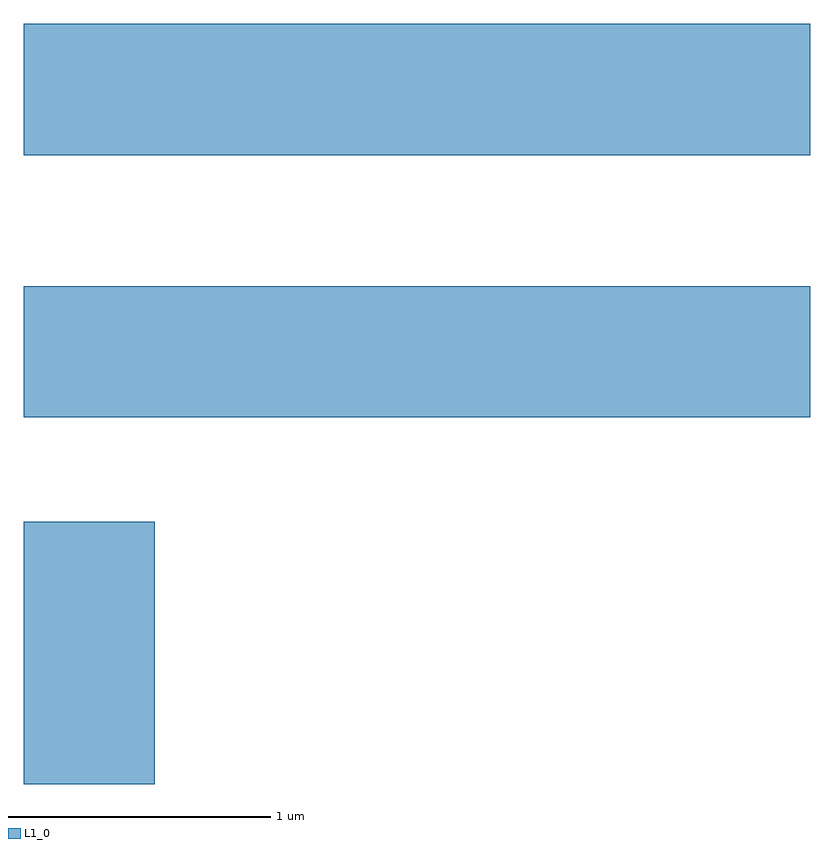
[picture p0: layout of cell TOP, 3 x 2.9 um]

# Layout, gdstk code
from math import pi, radians
import gdstk
lib = gdstk.Library(unit=1e-6, precision=1e-09)
def R(c, l, rs):  # rectangles x0, y0, x1, y1
    for r in rs: c.add(gdstk.rectangle(r[:2], r[2:], *l))
L1_0 = (1, 0)

c_a = lib.new_cell('A')
R(c_a, L1_0, [(0,0,0.5,1)])

top = lib.new_cell('TOP')
top.add(gdstk.Reference(c_a, (0,0)))
r = gdstk.Reference(c_a, (3,1.4), rotation=pi/2); r.repetition = gdstk.Repetition(2, 3, v1=(0,1), v2=(-1,0)); top.add(r)

lib.write_gds('TOP.gds')
